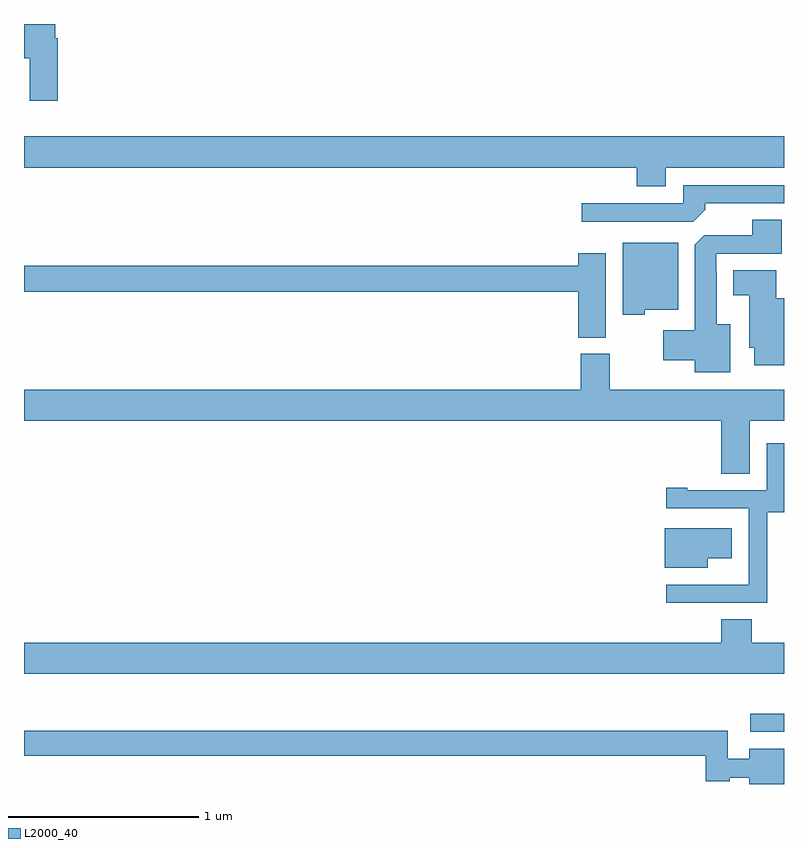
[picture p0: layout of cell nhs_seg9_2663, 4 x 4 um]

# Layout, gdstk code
import gdstk
lib = gdstk.Library(unit=1e-6, precision=1e-09)
def R(c, l, rs):  # rectangles x0, y0, x1, y1
    for r in rs: c.add(gdstk.rectangle(r[:2], r[2:], *l))
def P(c, l, *ps):  # polygons
    for p in ps: c.add(gdstk.Polygon(p, *l))
L2000_40 = (2000, 40)

nhs_seg9_2663 = lib.new_cell('nhs_seg9_2663')
R(nhs_seg9_2663, L2000_40, [(266.823,1202.775,267,1202.871)])
P(nhs_seg9_2663, L2000_40, [(263.177,1206.424),(263.164,1206.424),(263.164,1206.5),(263,1206.5),(263,1206.32),(263.03,1206.32),(263.03,1206.096),(263.177,1206.096)],
  [(266.377,1205.744),(267,1205.744),(267,1205.908),(263,1205.908),(263,1205.744),(266.225,1205.744),(266.225,1205.645),(266.377,1205.645)],
  [(266.585,1205.522),(266.585,1205.556),(267,1205.556),(267,1205.652),(266.469,1205.652),(266.469,1205.556),(265.935,1205.556),(265.935,1205.46),(266.523,1205.46)],
  [(266.716,1204.921),(266.647,1204.921),(266.647,1205.195),(266.643,1205.195),(266.643,1205.292),(266.987,1205.292),(266.987,1205.471),(266.834,1205.471),(266.834,1205.388),(266.58,1205.388),(266.531,1205.339),(266.531,1204.888),(266.364,1204.888),(266.364,1204.73),(266.531,1204.73),(266.531,1204.667),(266.716,1204.667)],
  [(266.268,1204.997),(266.443,1204.997),(266.443,1205.35),(266.15,1205.35),(266.15,1204.97),(266.268,1204.97)],
  [(266.062,1205.293),(265.916,1205.293),(265.916,1205.228),(263,1205.228),(263,1205.092),(265.916,1205.092),(265.916,1204.849),(266.062,1204.849)],
  [(267,1205.056),(266.959,1205.056),(266.959,1205.203),(266.732,1205.203),(266.732,1205.072),(266.816,1205.072),(266.816,1204.797),(266.843,1204.797),(266.843,1204.704),(267,1204.704)],
  [(266.821,1204.412),(267,1204.412),(267,1204.576),(266.083,1204.576),(266.083,1204.764),(265.931,1204.764),(265.931,1204.576),(263,1204.576),(263,1204.412),(266.669,1204.412),(266.669,1204.132),(266.821,1204.132)],
  [(266.913,1203.931),(267,1203.931),(267,1204.293),(266.91,1204.293),(266.91,1204.047),(266.491,1204.047),(266.491,1204.06),(266.379,1204.06),(266.379,1203.951),(266.814,1203.951),(266.814,1203.55),(266.813,1203.55),(266.813,1203.549),(266.379,1203.549),(266.379,1203.453),(266.913,1203.453)],
  [(266.599,1203.689),(266.725,1203.689),(266.725,1203.847),(266.372,1203.847),(266.372,1203.638),(266.599,1203.638)],
  [(267,1203.244),(266.829,1203.244),(266.829,1203.368),(266.669,1203.368),(266.669,1203.244),(263,1203.244),(263,1203.08),(267,1203.08)],
  [(267,1202.686),(266.816,1202.686),(266.816,1202.632),(266.703,1202.632),(266.703,1202.779),(263,1202.779),(263,1202.65),(266.587,1202.65),(266.587,1202.515),(266.715,1202.515),(266.715,1202.534),(266.816,1202.534),(266.816,1202.5),(267,1202.5)])

lib.write_gds('nhs_seg9_2663.gds')
